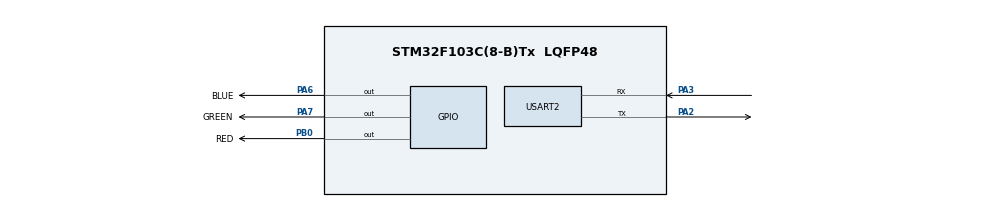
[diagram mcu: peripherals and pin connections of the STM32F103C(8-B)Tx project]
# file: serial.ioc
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Dma.Request0=USART2_TX
Dma.Request1=USART2_RX
Dma.USART2_RX.1.Direction=DMA_PERIPH_TO_MEMORY
Dma.USART2_RX.1.Instance=DMA1_Channel6
Dma.USART2_RX.1.MemDataAlignment=DMA_MDATAALIGN_BYTE
Dma.USART2_RX.1.MemInc=DMA_MINC_ENABLE
Dma.USART2_RX.1.Mode=DMA_NORMAL
Dma.USART2_RX.1.PeriphDataAlignment=DMA_PDATAALIGN_BYTE
Dma.USART2_RX.1.PeriphInc=DMA_PINC_DISABLE
Dma.USART2_RX.1.Priority=DMA_PRIORITY_LOW
Dma.USART2_TX.0.Direction=DMA_MEMORY_TO_PERIPH
Dma.USART2_TX.0.Instance=DMA1_Channel7
Dma.USART2_TX.0.MemDataAlignment=DMA_MDATAALIGN_BYTE
Dma.USART2_TX.0.MemInc=DMA_MINC_ENABLE
Dma.USART2_TX.0.Mode=DMA_NORMAL
Dma.USART2_TX.0.PeriphDataAlignment=DMA_PDATAALIGN_BYTE
Dma.USART2_TX.0.PeriphInc=DMA_PINC_DISABLE
Dma.USART2_TX.0.Priority=DMA_PRIORITY_LOW
Mcu.Family=STM32F1
Mcu.Name=STM32F103C(8-B)Tx
Mcu.Package=LQFP48
NVIC.DMA1_Channel6_IRQn=true\:0\:0\:false\:false\:true\:false\:true\:true
NVIC.DMA1_Channel7_IRQn=true\:0\:0\:false\:false\:true\:false\:true\:true
NVIC.PriorityGroup=NVIC_PRIORITYGROUP_4
NVIC.USART2_IRQn=true\:0\:0\:false\:false\:true\:true\:true\:true
PA2.Mode=Asynchronous
PA2.Signal=USART2_TX
PA3.Mode=Asynchronous
PA3.Signal=USART2_RX
PA6.GPIO_Label=BLUE
PA6.Signal=GPIO_Output
PA7.GPIO_Label=GREEN
PA7.Signal=GPIO_Output
PB0.GPIO_Label=RED
PB0.Signal=GPIO_Output
ProjectManager.HeapSize=0x200
ProjectManager.StackSize=0x400
ProjectManager.TargetToolchain=STM32CubeIDE
RCC.APB1Freq_Value=8000000
RCC.APB2Freq_Value=8000000
USART2.VirtualMode=VM_ASYNC
VP_SYS_VS_ND.Mode=No_Debug
board=custom

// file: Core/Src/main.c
/* USER CODE BEGIN Header */
/**
  ******************************************************************************
  * @file           : main.c
  * @brief          : Main program body
  ******************************************************************************
  * @attention
  *
  * Copyright (c) 2025 STMicroelectronics.
  * All rights reserved.
  *
  * This software is licensed under terms that can be found in the LICENSE file
  * in the root directory of this software component.
  * If no LICENSE file comes with this software, it is provided AS-IS.
  *
  ******************************************************************************
  */
/* USER CODE END Header */
#include "main.h"

UART_HandleTypeDef huart2;
DMA_HandleTypeDef hdma_usart2_tx;
DMA_HandleTypeDef hdma_usart2_rx;

/* USER CODE BEGIN PV */
uint8_t receiveData[20];
/* USER CODE END PV */

void SystemClock_Config(void);
static void MX_GPIO_Init(void);
static void MX_DMA_Init(void);
static void MX_USART2_UART_Init(void);

/* USER CODE BEGIN 0 */
void HAL_UART_RxCpltCallback(UART_HandleTypeDef *huart)
{
	 HAL_UART_Transmit_DMA(&huart2, receiveData, 2);
	  GPIO_PinState state=GPIO_PIN_SET;
	  if(receiveData[1]=='0')
		  state=GPIO_PIN_RESET;
	  if(receiveData[0]=='R')
		HAL_GPIO_WritePin(RED_GPIO_Port, RED_Pin,state);
	  else if(receiveData[0]=='G')
		  HAL_GPIO_WritePin(GREEN_GPIO_Port, GREEN_Pin,state);
	  else if(receiveData[0]=='B')
			  HAL_GPIO_WritePin(BLUE_GPIO_Port, BLUE_Pin,state);
	  HAL_UART_Receive_DMA(&huart2, receiveData, 2);

}

void HAL_UARTEx_RxEventCallback(UART_HandleTypeDef *huart, uint16_t Size)
{
	if(huart==&huart2)
	{
		HAL_UART_Transmit_DMA(huart, receiveData, Size);

		HAL_UARTEx_ReceiveToIdle_DMA(&huart2, receiveData, sizeof(receiveData));
		__HAL_DMA_DISABLE_IT(&hdma_usart2_rx,DMA_IT_HT);

	}

}
/* USER CODE END 0 */

int main(void)
{

  /* MCU Configuration--------------------------------------------------------*/

  /* Reset of all peripherals, Initializes the Flash interface and the Systick. */
  HAL_Init();

  /* Configure the system clock */
  SystemClock_Config();

  /* Initialize all configured peripherals */
  MX_GPIO_Init();
  MX_DMA_Init();
  MX_USART2_UART_Init();
  /* USER CODE BEGIN 2 */

//HAL_UART_Receive_DMA(&huart2, receiveData, 2);
HAL_UARTEx_ReceiveToIdle_DMA(&huart2, receiveData, sizeof(receiveData));
__HAL_DMA_DISABLE_IT(&hdma_usart2_rx,DMA_IT_HT);
  /* USER CODE END 2 */

  /* Infinite loop */
  while (1)
  {

  }
}

void SystemClock_Config(void)
{
  RCC_OscInitTypeDef RCC_OscInitStruct = {0};
  RCC_ClkInitTypeDef RCC_ClkInitStruct = {0};

  /** Initializes the RCC Oscillators according to the specified parameters
  * in the RCC_OscInitTypeDef structure.
  */
  RCC_OscInitStruct.OscillatorType = RCC_OSCILLATORTYPE_HSI;
  RCC_OscInitStruct.HSIState = RCC_HSI_ON;
  RCC_OscInitStruct.HSICalibrationValue = RCC_HSICALIBRATION_DEFAULT;
  RCC_OscInitStruct.PLL.PLLState = RCC_PLL_NONE;
  if (HAL_RCC_OscConfig(&RCC_OscInitStruct) != HAL_OK)
  {
    Error_Handler();
  }

  /** Initializes the CPU, AHB and APB buses clocks
  */
  RCC_ClkInitStruct.ClockType = RCC_CLOCKTYPE_HCLK|RCC_CLOCKTYPE_SYSCLK
                              |RCC_CLOCKTYPE_PCLK1|RCC_CLOCKTYPE_PCLK2;
  RCC_ClkInitStruct.SYSCLKSource = RCC_SYSCLKSOURCE_HSI;
  RCC_ClkInitStruct.AHBCLKDivider = RCC_SYSCLK_DIV1;
  RCC_ClkInitStruct.APB1CLKDivider = RCC_HCLK_DIV1;
  RCC_ClkInitStruct.APB2CLKDivider = RCC_HCLK_DIV1;

  if (HAL_RCC_ClockConfig(&RCC_ClkInitStruct, FLASH_LATENCY_0) != HAL_OK)
  {
    Error_Handler();
  }
}

static void MX_USART2_UART_Init(void)
{

  huart2.Instance = USART2;
  huart2.Init.BaudRate = 115200;
  huart2.Init.WordLength = UART_WORDLENGTH_8B;
  huart2.Init.StopBits = UART_STOPBITS_1;
  huart2.Init.Parity = UART_PARITY_NONE;
  huart2.Init.Mode = UART_MODE_TX_RX;
  huart2.Init.HwFlowCtl = UART_HWCONTROL_NONE;
  huart2.Init.OverSampling = UART_OVERSAMPLING_16;
  if (HAL_UART_Init(&huart2) != HAL_OK)
  {
    Error_Handler();
  }

}

static void MX_DMA_Init(void)
{

  /* DMA controller clock enable */
  __HAL_RCC_DMA1_CLK_ENABLE();

  /* DMA interrupt init */
  /* DMA1_Channel6_IRQn interrupt configuration */
  HAL_NVIC_SetPriority(DMA1_Channel6_IRQn, 0, 0);
  HAL_NVIC_EnableIRQ(DMA1_Channel6_IRQn);
  /* DMA1_Channel7_IRQn interrupt configuration */
  HAL_NVIC_SetPriority(DMA1_Channel7_IRQn, 0, 0);
  HAL_NVIC_EnableIRQ(DMA1_Channel7_IRQn);

}

static void MX_GPIO_Init(void)
{
  GPIO_InitTypeDef GPIO_InitStruct = {0};

  /* GPIO Ports Clock Enable */
  __HAL_RCC_GPIOA_CLK_ENABLE();
  __HAL_RCC_GPIOB_CLK_ENABLE();

  /*Configure GPIO pin Output Level */
  HAL_GPIO_WritePin(GPIOA, BLUE_Pin|GREEN_Pin, GPIO_PIN_RESET);

  /*Configure GPIO pin Output Level */
  HAL_GPIO_WritePin(RED_GPIO_Port, RED_Pin, GPIO_PIN_RESET);

  /*Configure GPIO pins : BLUE_Pin GREEN_Pin */
  GPIO_InitStruct.Pin = BLUE_Pin|GREEN_Pin;
  GPIO_InitStruct.Mode = GPIO_MODE_OUTPUT_PP;
  GPIO_InitStruct.Pull = GPIO_NOPULL;
  GPIO_InitStruct.Speed = GPIO_SPEED_FREQ_LOW;
  HAL_GPIO_Init(GPIOA, &GPIO_InitStruct);

  /*Configure GPIO pin : RED_Pin */
  GPIO_InitStruct.Pin = RED_Pin;
  GPIO_InitStruct.Mode = GPIO_MODE_OUTPUT_PP;
  GPIO_InitStruct.Pull = GPIO_NOPULL;
  GPIO_InitStruct.Speed = GPIO_SPEED_FREQ_LOW;
  HAL_GPIO_Init(RED_GPIO_Port, &GPIO_InitStruct);

}

void Error_Handler(void)
{
  __disable_irq();
  while (1)
  {
  }
}
